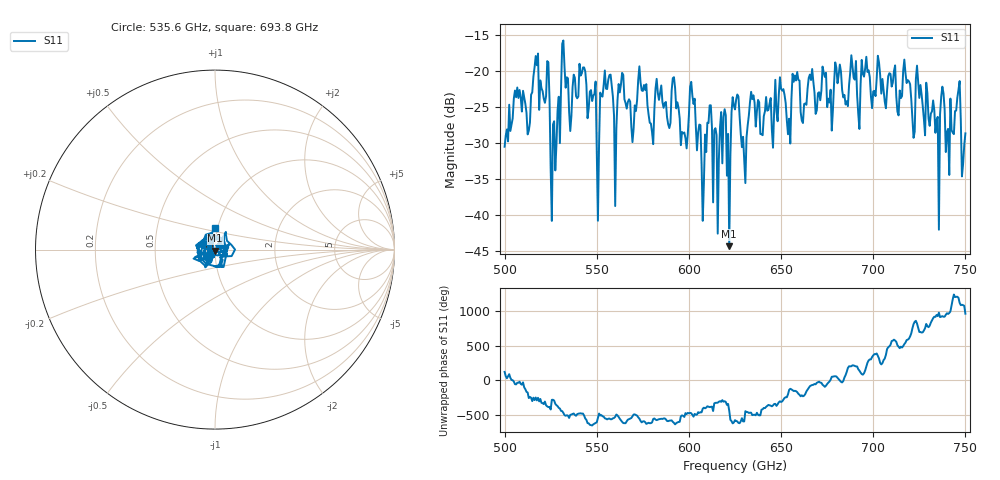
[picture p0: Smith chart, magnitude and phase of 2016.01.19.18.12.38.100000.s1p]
!Created with skrf (http://scikit-rf.org).
# GHz S RI R 50.0
!freq ReS11 ImS11
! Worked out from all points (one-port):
!   401 points, 500 GHz to 750 GHz, reference 50 ohm
!   lowest |S11| = -44.3 dB at 621.9 GHz (marker M1), VSWR 1.01, Z = 50.1 - j0.599 ohm
!   |S11| at or under -10 dB: start of sweep to end of sweep
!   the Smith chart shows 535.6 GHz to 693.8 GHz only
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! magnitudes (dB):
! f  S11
! 500 GHz  -30.5
! 506.9 GHz  -22.2
! 513.1 GHz  -28.2
! 516.9 GHz  -17.9
! 523.1 GHz  -18.6
! 526.2 GHz  -27.4
! 531.2 GHz  -16.2
! 543.1 GHz  -19.4
! 551.2 GHz  -30.1
! 553.1 GHz  -23.5
! 560 GHz  -38.7
! 562.5 GHz  -22.9
! 593.8 GHz  -24.3
! 598.1 GHz  -29.3
! 601.9 GHz  -23.4
! 608.1 GHz  -35.5
! 611.2 GHz  -24.7
! 614.4 GHz  -27.9
! 621.9 GHz  -44.3
! 625 GHz  -25.3
! 630 GHz  -32.2
! 634.4 GHz  -23.8
! 656.2 GHz  -20.3
! 687.5 GHz  -20.2
! 718.8 GHz  -21.2
! 735 GHz  -26.3
! 745.6 GHz  -23.6
! 750 GHz  -28.6
